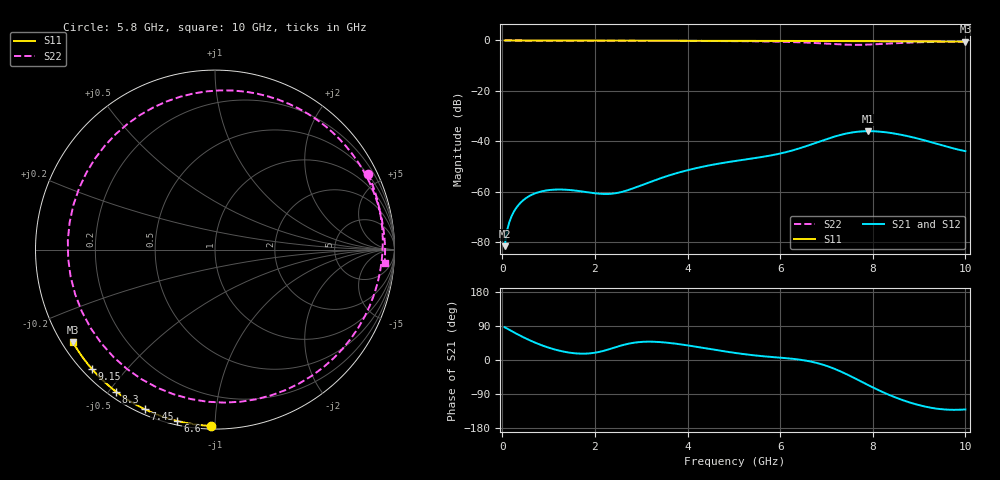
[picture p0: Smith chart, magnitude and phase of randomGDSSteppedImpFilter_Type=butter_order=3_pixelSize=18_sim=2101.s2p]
! freq	dB(S11)	phase(S11)	dB(S12)	phase(S12)
!  dB(S21)	phase(S21)	dB(S22)	phase(S22)
!S-par simulation data
#  GHz  S  DB  R 50
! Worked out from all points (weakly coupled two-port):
!   200 points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, 50 MHz to 10 GHz, reference 50 ohm
!   highest |S21| = -36.01 dB at 7.9 GHz (marker M1); lowest = -81.7 dB at 50 MHz (marker M2)
!   lowest |S11| = -0.5 dB at 10 GHz (marker M3), VSWR 35.31, Z = 1.54 - j14.9 ohm
!   |S11| at or under -10 dB: nowhere
!   |S22| runs from -1.7 to 0.0 dB; largest |S21 - S12| = 0
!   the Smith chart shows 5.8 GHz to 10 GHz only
!   S11 on the Smith chart (normalised r, x): 5.8 GHz: 0.02, -0.98; 6.6 GHz: 0.02, -0.80; 7.45 GHz: 0.02, -0.65; 8.3 GHz: 0.02, -0.52; 9.15 GHz: 0.03, -0.41; 10 GHz: 0.03, -0.30
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0.05  -0.00 -0.9  -81.67 86.5  -81.67 86.5  -0.00 -6.1
0.15  -0.00 -2.6  -72.22 79.7  -72.22 79.7  -0.03 -18.2
0.3  -0.01 -5.1  -66.50 69.8  -66.50 69.8  -0.06 -35.8
0.75  -0.02 -12.8  -60.43 43.8  -60.43 43.8  -0.09 -82.3
1.25  -0.03 -21.2  -59.17 24.1  -59.17 24.1  -0.11 -121.8
1.75  -0.04 -29.5  -60.02 16.7  -60.02 16.7  -0.11 -151.7
2.5  -0.05 -41.7  -60.48 35.8  -60.48 35.8  -0.12 173.1
3.4  -0.07 -56.0  -54.80 47.4  -54.80 47.4  -0.14 136.7
4.3  -0.10 -69.7  -50.23 32.8  -50.23 32.8  -0.19 100.5
5.05  -0.12 -80.7  -47.79 18.2  -47.79 18.2  -0.27 67.0
5.8  -0.16 -91.4  -45.64 8.1  -45.64 8.1  -0.43 26.5
6.25  -0.18 -97.6  -43.74 3.4  -43.74 3.4  -0.62 -4.0
6.6  -0.20 -102.4  -41.73 -2.6  -41.73 -2.6  -0.86 -33.0
6.7  -0.20 -103.7  -41.10 -5.1  -41.10 -5.1  -0.95 -42.5
7.1  -0.23 -109.1  -38.59 -19.8  -38.59 -19.8  -1.37 -86.6
7.45  -0.25 -113.8  -36.87 -38.4  -36.87 -38.4  -1.69 -133.5
7.9  -0.28 -119.7  -36.01 -66.2  -36.01 -66.2  -1.65 162.5
8.3  -0.32 -124.9  -36.50 -89.3  -36.50 -89.3  -1.28 113.4
8.35  -0.32 -125.5  -36.62 -91.9  -36.62 -91.9  -1.23 108.1
8.7  -0.35 -130.0  -37.77 -108.2  -37.77 -108.2  -0.92 75.0
9.15  -0.40 -135.8  -39.81 -123.4  -39.81 -123.4  -0.65 41.6
10  -0.49 -146.8  -43.95 -130.5  -43.95 -130.5  -0.46 -4.6
